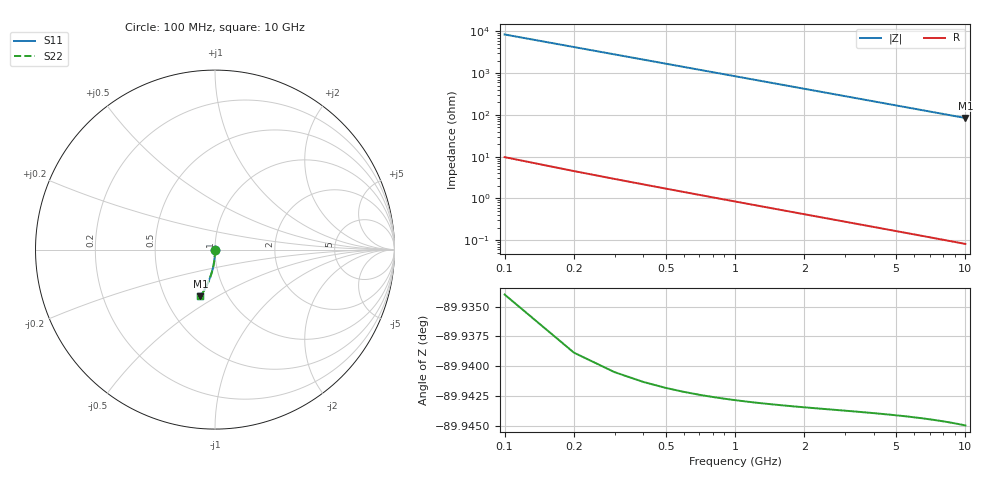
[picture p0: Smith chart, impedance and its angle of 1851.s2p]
# Hz S RI R 50.00
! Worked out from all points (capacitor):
!   100 points, 100 MHz to 10 GHz, reference 50 ohm
!   read as one part in shunt: C = 188 fF near 100 MHz
!   lowest |Z| = 84.4 ohm at 10 GHz (marker M1)
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1e8  8.16e-05 -0.00282  0.9999 -0.00309  0.9999 -0.00309  8.16e-05 -0.00282
2e8  5.32e-05 -0.00564  0.9999 -0.00618  0.9999 -0.00618  5.32e-05 -0.00564
3e8  7.17e-06 -0.00847  0.9998 -0.00926  0.9998 -0.00926  7.17e-06 -0.00847
4e8  -5.63e-05 -0.0113  0.9998 -0.0124  0.9998 -0.0124  -5.63e-05 -0.0113
5e8  -0.000137 -0.0141  0.9997 -0.0154  0.9997 -0.0154  -0.000137 -0.0141
6e8  -0.000236 -0.0169  0.9996 -0.0185  0.9996 -0.0185  -0.000236 -0.0169
7e8  -0.000352 -0.0197  0.9995 -0.0216  0.9995 -0.0216  -0.000352 -0.0197
8e8  -0.000485 -0.0226  0.9993 -0.0247  0.9993 -0.0247  -0.000485 -0.0226
9e8  -0.000636 -0.0254  0.9992 -0.0278  0.9992 -0.0278  -0.000636 -0.0254
1.1e9  -0.000989 -0.031  0.9988 -0.0339  0.9988 -0.0339  -0.000989 -0.031
1.4e9  -0.00165 -0.0394  0.9981 -0.0432  0.9981 -0.0432  -0.00165 -0.0394
1.8e9  -0.00277 -0.0507  0.997 -0.0554  0.997 -0.0554  -0.00277 -0.0507
2.1e9  -0.00379 -0.0591  0.996 -0.0646  0.996 -0.0646  -0.00379 -0.0591
2.5e9  -0.0054 -0.0702  0.9944 -0.0768  0.9944 -0.0768  -0.0054 -0.0702
2.9e9  -0.00727 -0.0813  0.9925 -0.089  0.9925 -0.089  -0.00727 -0.0813
3.4e9  -0.00999 -0.095  0.9898 -0.1041  0.9898 -0.1041  -0.00999 -0.095
4.2e9  -0.0152 -0.1168  0.9845 -0.128  0.9845 -0.128  -0.0152 -0.1168
5.1e9  -0.0223 -0.1408  0.9774 -0.1544  0.9774 -0.1544  -0.0223 -0.1408
5.9e9  -0.0296 -0.1617  0.97 -0.1774  0.97 -0.1774  -0.0296 -0.1617
6.7e9  -0.0379 -0.1821  0.9617 -0.1999  0.9617 -0.1999  -0.0379 -0.1821
8.4e9  -0.0585 -0.2234  0.941 -0.2459  0.941 -0.2459  -0.0585 -0.2234
1e10  -0.0811 -0.2596  0.9183 -0.2863  0.9183 -0.2863  -0.0811 -0.2596
